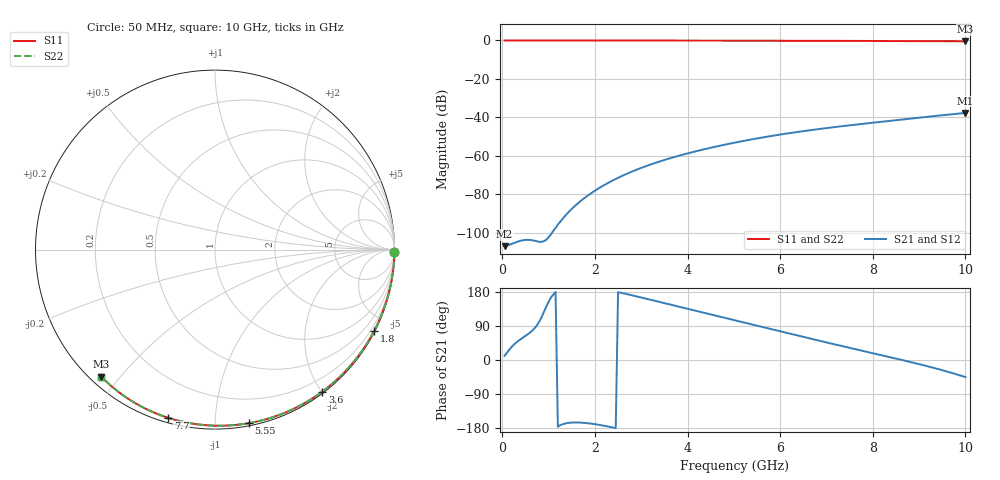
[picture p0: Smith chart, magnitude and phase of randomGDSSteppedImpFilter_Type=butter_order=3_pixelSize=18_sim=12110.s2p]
! freq	dB(S11)	phase(S11)	dB(S12)	phase(S12)
!  dB(S21)	phase(S21)	dB(S22)	phase(S22)
!S-par simulation data
#  GHz  S  DB  R 50
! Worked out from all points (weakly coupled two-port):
!   200 points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, 50 MHz to 10 GHz, reference 50 ohm
!   highest |S21| = -37.74 dB at 10 GHz (marker M1); lowest = -107.0 dB at 50 MHz (marker M2)
!   lowest |S11| = -0.4 dB at 10 GHz (marker M3), VSWR 39.13, Z = 1.53 - j22.3 ohm
!   |S11| at or under -10 dB: nowhere
!   |S22| runs from -0.4 to 0.0 dB; largest |S21 - S12| = 0
!   S11 on the Smith chart (normalised r, x): 50 MHz: open; 1.8 GHz: 0.04, -4.15; 3.6 GHz: 0.02, -2.01; 5.55 GHz: 0.02, -1.21; 7.7 GHz: 0.02, -0.76; 10 GHz: 0.03, -0.45
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0.05  -0.00 -0.8  -107.03 11.2  -107.03 11.2  -0.00 -0.8
0.45  -0.00 -6.9  -103.94 59.5  -103.94 59.5  -0.00 -6.9
0.9  -0.02 -13.7  -104.40 127.5  -104.40 127.5  -0.02 -13.7
1.75  -0.03 -26.3  -82.42 -165.7  -82.42 -165.7  -0.03 -26.3
1.8  -0.03 -27.1  -81.50 -166.3  -81.50 -166.3  -0.03 -27.1
1.9  -0.04 -28.5  -79.77 -167.6  -79.77 -167.6  -0.04 -28.5
2.05  -0.04 -30.7  -77.40 -170.3  -77.40 -170.3  -0.04 -30.7
2.25  -0.04 -33.7  -74.56 -174.7  -74.56 -174.7  -0.04 -33.7
2.45  -0.05 -36.6  -72.04 -179.6  -72.04 -179.6  -0.05 -36.6
2.65  -0.05 -39.5  -69.77 175.0  -69.77 175.0  -0.05 -39.5
3  -0.06 -44.5  -66.31 164.9  -66.31 164.9  -0.06 -44.5
3.4  -0.07 -50.1  -62.94 153.0  -62.94 153.0  -0.07 -50.1
3.6  -0.07 -52.9  -61.45 147.0  -61.45 147.0  -0.07 -52.9
4.3  -0.09 -62.5  -56.95 126.2  -56.95 126.2  -0.09 -62.5
5.05  -0.11 -72.5  -53.01 104.0  -53.01 104.0  -0.11 -72.5
5.55  -0.13 -79.0  -50.76 89.1  -50.76 89.1  -0.13 -79.0
6.1  -0.15 -86.0  -48.58 72.8  -48.58 72.8  -0.15 -86.0
6.7  -0.18 -93.5  -46.52 55.0  -46.52 55.0  -0.18 -93.5
7.7  -0.24 -105.5  -43.61 26.4  -43.61 26.4  -0.24 -105.5
8.35  -0.29 -113.1  -41.88 8.1  -41.88 8.1  -0.29 -113.1
9.15  -0.36 -122.3  -39.79 -15.5  -39.79 -15.5  -0.36 -122.3
10  -0.44 -131.9  -37.74 -45.1  -37.74 -45.1  -0.44 -131.9
